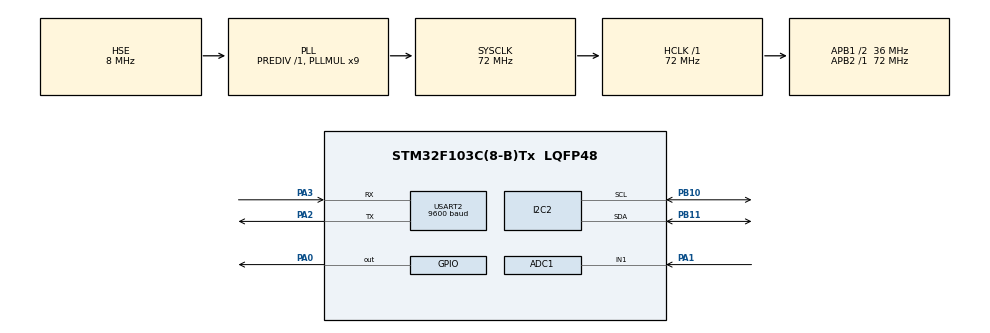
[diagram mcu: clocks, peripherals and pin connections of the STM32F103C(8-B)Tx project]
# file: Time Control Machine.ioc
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ADC1.Channel-0\#ChannelRegularConversion=ADC_CHANNEL_1
ADC1.ContinuousConvMode=ENABLE
ADC1.NbrOfConversionFlag=1
ADC1.Rank-0\#ChannelRegularConversion=1
ADC1.SamplingTime-0\#ChannelRegularConversion=ADC_SAMPLETIME_1CYCLE_5
ADC1.master=1
I2C2.I2C_Mode=I2C_Fast
Mcu.Family=STM32F1
Mcu.Name=STM32F103C(8-B)Tx
Mcu.Package=LQFP48
NVIC.PriorityGroup=NVIC_PRIORITYGROUP_4
NVIC.USART2_IRQn=true\:0\:0\:false\:false\:true\:true\:true\:true
PA0-WKUP.Signal=GPIO_Output
PA1.Signal=ADCx_IN1
PA13.Mode=Serial_Wire
PA13.Signal=SYS_JTMS-SWDIO
PA14.Mode=Serial_Wire
PA14.Signal=SYS_JTCK-SWCLK
PA2.Mode=Asynchronous
PA2.Signal=USART2_TX
PA3.Mode=Asynchronous
PA3.Signal=USART2_RX
PB10.Mode=I2C
PB10.Signal=I2C2_SCL
PB11.Mode=I2C
PB11.Signal=I2C2_SDA
PD0-OSC_IN.Mode=HSE-External-Oscillator
PD0-OSC_IN.Signal=RCC_OSC_IN
PD1-OSC_OUT.Mode=HSE-External-Oscillator
PD1-OSC_OUT.Signal=RCC_OSC_OUT
ProjectManager.HeapSize=0x200
ProjectManager.StackSize=0x400
ProjectManager.TargetToolchain=STM32CubeIDE
RCC.ADCPresc=RCC_ADCPCLK2_DIV6
RCC.AHBFreq_Value=72000000
RCC.APB1CLKDivider=RCC_HCLK_DIV2
RCC.APB1Freq_Value=36000000
RCC.APB1TimFreq_Value=72000000
RCC.APB2Freq_Value=72000000
RCC.APB2TimFreq_Value=72000000
RCC.HCLKFreq_Value=72000000
RCC.PLLMUL=RCC_PLL_MUL9
RCC.PLLSourceVirtual=RCC_PLLSOURCE_HSE
RCC.SYSCLKFreq_VALUE=72000000
RCC.SYSCLKSource=RCC_SYSCLKSOURCE_PLLCLK
RCC.USBFreq_Value=72000000
SH.ADCx_IN1.0=ADC1_IN1,IN1
TIM1.Period=0xffff-1
TIM1.Prescaler=72-1
TIM2.Period=0xffff-1
TIM2.Prescaler=72-1
USART2.BaudRate=9600
USART2.VirtualMode=VM_ASYNC
VP_TIM1_VS_ClockSourceINT.Mode=Internal
VP_TIM2_VS_ClockSourceINT.Mode=Internal
board=custom

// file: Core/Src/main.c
/* USER CODE BEGIN Header */
/**
  ******************************************************************************
  * @file           : main.c
  * @brief          : Main program body
  ******************************************************************************
  * @attention
  *
  * Copyright (c) 2024 STMicroelectronics.
  * All rights reserved.
  *
  * This software is licensed under terms that can be found in the LICENSE file
  * in the root directory of this software component.
  * If no LICENSE file comes with this software, it is provided AS-IS.
  *
  ******************************************************************************
  */
/* USER CODE END Header */
#include "main.h"
#include "adc.h"
#include "i2c.h"
#include "tim.h"
#include "usart.h"
#include "gpio.h"
#include <stdio.h>

/* USER CODE BEGIN PD */

// MPU6050_SCL PB10
// MPU6050_SDA PB11
// Pot         PA1
// Mosfet 3713 PA0

#define MPU6050_I2C_Address 0xD0
// KNOWLEGDE: I2C SLAVE ADDRESSING
// In common I2C devices, almost use 7 bits addressing.
// Means that first seven bits is the address of the I2C device, last bit is Write/Read flag (0 is write and 1 is read)
// specifically, MPU6050 default address is 0x68 according to the datasheet. 0x68 convert to binary is 1101000 (7 bits). So in order to write to MPU6050, we have to put 0 to the LSB bit result 1101000 which is 0xD0 in hex.

// https://invensense.tdk.com/wp-content/uploads/2015/02/MPU-6000-Register-Map1.pdf
#define PWR_MGMT_1 0x6B        // Register 107: This register configure the power mode and clock source. It also provides a bit for resetting the entire device, and a bit for disabling the temperature sensor.
#define SMPLRT_DIV 0x19        // Register 25 : This register specifies the divider from the gyroscope output rate used to generate the Sample Rate for the MPU-60X0.
#define GYRO_CONFIG 0x1B       // Register 27 : This register configure the Gyroscope full scale range.
#define ACCEL_CONFIG 0x1c      // Register 28 : This register configure the Accelerometer full scale range.
#define RAW_OUT_START 0x3B     // Register 59 -> 64 store the most recent accelerometer measurements. Register 67 -> 72 store the most recent gyroscope measurements.

/* USER CODE END PD */

/* USER CODE BEGIN 0 */

double AccX, AccY, AccZ;    /* Accelerometer of 3 axis */
double GyroXRate;    /* rate of change of angle (angular velocity) */
double GyroXAngle = 180;    /* Start position */
uint32_t timer;
long lastMillis = 0;
int lightDelay = 200;
int darkDelay;
int minDarkDelay = 1;
int maxDarkDelay = 50;
int angle;
int mode = 1;

void HAL_DelayMicroseconds (uint16_t us)
{
	__HAL_TIM_SET_COUNTER(&htim1,0);
	while (__HAL_TIM_GET_COUNTER(&htim1) < us);
}

double map(double value, int fromLow, int fromHigh, int toLow, int toHigh)
{
    return (value - fromLow) * (toHigh - toLow) / (fromHigh - fromLow) + toLow;
}

void MPU6050Init()
{
	uint8_t pData;

	pData = 0x08;

	HAL_I2C_Mem_Write(&hi2c2, MPU6050_I2C_Address, PWR_MGMT_1, 1, &pData, 1, 1000); // pData = 0x08 will set the MPU6050 to normal mode (no sleep mode or cycle mode), disable internal temperature sensor (no need) and set the clock source to internal 8MHz oscillator.

  pData = 0x07;

	HAL_I2C_Mem_Write(&hi2c2, MPU6050_I2C_Address, SMPLRT_DIV, 1, &pData, 1, 1000);     // pData = 0x07 will set the Sample rate of MPU6050 to 1kHz according to this formula: Sample Rate = Gyroscope Output Rate / (1 + SMPLRT_DIV). The Gyroscope Output Rate = 8kHz (We will not use the Digital Low Pass Filter).

  pData = 0x00;

  HAL_I2C_Mem_Write(&hi2c2, MPU6050_I2C_Address, GYRO_CONFIG, 1, &pData, 1, 1000);    // pData = 0x00 will set the Full scale range of Gyroscope to +-250 degree/s and disable self-test

  pData = 0x00;

  HAL_I2C_Mem_Write(&hi2c2, MPU6050_I2C_Address, ACCEL_CONFIG, 1, &pData, 1, 1000);   // pData = 0x00 will set the Full scale range of Accelerometer to +-2g and disable self-test
}

void MPU6050Read()
{
	uint8_t data[10];

  uint16_t Accel_X_RAW, Accel_Y_RAW, Accel_Z_RAW, Gyro_X_RAW;

  HAL_I2C_Mem_Read (&hi2c2, MPU6050_I2C_Address, RAW_OUT_START, 1, data, 10, 1000);

/*
 * KNOWLEGDE: Get and store 16-bit values
 * Each register return 1 byte (8 bits) so we will read 6 bytes together start from ACCEL_OUT_START for Accelerometer and GYRO_OUT_START for Gyroscope
 *
 * Accelerometer for example, 6 Bytes from 6 Register in order:
 *     X higher 8 bits
 *     X lower 8 bits
 *     Y higher 8 bits
 *     Y lower 8 bits
 *     Z higher 8 bits
 *     Z lower 8 bits
 * Gyroscope is the same.
 * In order to have 16 bits value, we shift the higher 8 bits to the left and then ‘OR’ it with the lower 8 bits.
 *	Accel_X_RAW = data[0] << 8 | data[1];
 *	Accel_Y_RAW = data[2] << 8 | data[3];
 *	Accel_Z_RAW = data[4] << 8 | data[5];
 *	Gyro_X_RAW = data[8] << 8 | data[9];
 *
 * To get the g value of Accelerometer, we divide the raw value from 16384.0 (according to the datasheet about the LSB Sensitivity)
 * Similar to Accelerometer, to get the dps (degree per second) value of Gyroscope, we divide the raw value from 131.0 (according to the datasheet about the LSB Sensitivity).
 *	AccX = Accel_X_RAW/16384.0;
 *	AccY = Accel_Y_RAW/16384.0;
 *	AccZ = Accel_Z_RAW/16384.0;
 *	GyroXRate = Gyro_X_RAW/131.0;
 */
}

/* USER CODE END 0 */

int main(void)
{

  /* MCU Configuration--------------------------------------------------------*/

  /* Reset of all peripherals, Initializes the Flash interface and the Systick. */
  HAL_Init();

  /* Configure the system clock */
  SystemClock_Config();

  /* Initialize all configured peripherals */
  MX_GPIO_Init();

  MX_I2C2_Init();

  MX_ADC1_Init();

  MX_TIM1_Init();

  MX_TIM2_Init();

  MX_USART2_UART_Init();
  /* USER CODE BEGIN 2 */

  __HAL_TIM_SET_COUNTER(&htim2,0);

  timer = __HAL_TIM_GET_COUNTER(&htim2);

  MPU6050Init();

  HAL_ADC_Start(&hadc1);

  /* USER CODE END 2 */

  /* Infinite loop */
  while (1)
  {

    /* USER CODE BEGIN 3 */
    MPU6050Read();

    GyroXAngle += GyroXRate*((__HAL_TIM_GET_COUNTER(&htim2) - timer)/1000000);    /* Calculate gyro angle using the unbiased rate */

    timer = __HAL_TIM_GET_COUNTER(&htim2);

    if(AccZ > 1.5 && (HAL_GetTick() - lastMillis > 300))
    {
      if(mode == 1)
      {
    	  mode = 0;
      }
      else
      {
    	  mode = 1;
      }
      lastMillis = HAL_GetTick();
    }
    if(mode == 1)
    {
      angle = 250 - GyroXAngle;    /* use this angle to calculate to make object moving backward or forward */

      darkDelay = map(HAL_ADC_GetValue(&hadc1), 0, 4095, minDarkDelay, maxDarkDelay);

      HAL_GPIO_WritePin(GPIOA, GPIO_PIN_0, 1);    /* make the LED blink with suitable frequency */

      HAL_DelayMicroseconds(lightDelay);

      HAL_GPIO_WritePin(GPIOA, GPIO_PIN_0, 0);

      HAL_Delay(darkDelay);

      HAL_DelayMicroseconds(2000 + angle*10);    /* extra delay base on the angle to make object moving backward or forward */
    }
  }
  /* USER CODE END 3 */
}

void SystemClock_Config(void)
{
  RCC_OscInitTypeDef RCC_OscInitStruct = {0};
  RCC_ClkInitTypeDef RCC_ClkInitStruct = {0};
  RCC_PeriphCLKInitTypeDef PeriphClkInit = {0};

  /** Initializes the RCC Oscillators according to the specified parameters
  * in the RCC_OscInitTypeDef structure.
  */
  RCC_OscInitStruct.OscillatorType = RCC_OSCILLATORTYPE_HSE;
  RCC_OscInitStruct.HSEState = RCC_HSE_ON;
  RCC_OscInitStruct.HSEPredivValue = RCC_HSE_PREDIV_DIV1;
  RCC_OscInitStruct.HSIState = RCC_HSI_ON;
  RCC_OscInitStruct.PLL.PLLState = RCC_PLL_ON;
  RCC_OscInitStruct.PLL.PLLSource = RCC_PLLSOURCE_HSE;
  RCC_OscInitStruct.PLL.PLLMUL = RCC_PLL_MUL9;
  if (HAL_RCC_OscConfig(&RCC_OscInitStruct) != HAL_OK)
  {
    Error_Handler();
  }

  /** Initializes the CPU, AHB and APB buses clocks
  */
  RCC_ClkInitStruct.ClockType = RCC_CLOCKTYPE_HCLK|RCC_CLOCKTYPE_SYSCLK
                              |RCC_CLOCKTYPE_PCLK1|RCC_CLOCKTYPE_PCLK2;
  RCC_ClkInitStruct.SYSCLKSource = RCC_SYSCLKSOURCE_PLLCLK;
  RCC_ClkInitStruct.AHBCLKDivider = RCC_SYSCLK_DIV1;
  RCC_ClkInitStruct.APB1CLKDivider = RCC_HCLK_DIV2;
  RCC_ClkInitStruct.APB2CLKDivider = RCC_HCLK_DIV1;

  if (HAL_RCC_ClockConfig(&RCC_ClkInitStruct, FLASH_LATENCY_2) != HAL_OK)
  {
    Error_Handler();
  }
  PeriphClkInit.PeriphClockSelection = RCC_PERIPHCLK_ADC;
  PeriphClkInit.AdcClockSelection = RCC_ADCPCLK2_DIV6;
  if (HAL_RCCEx_PeriphCLKConfig(&PeriphClkInit) != HAL_OK)
  {
    Error_Handler();
  }
}

void Error_Handler(void)
{
  __disable_irq();
  while (1)
  {
  }
}
